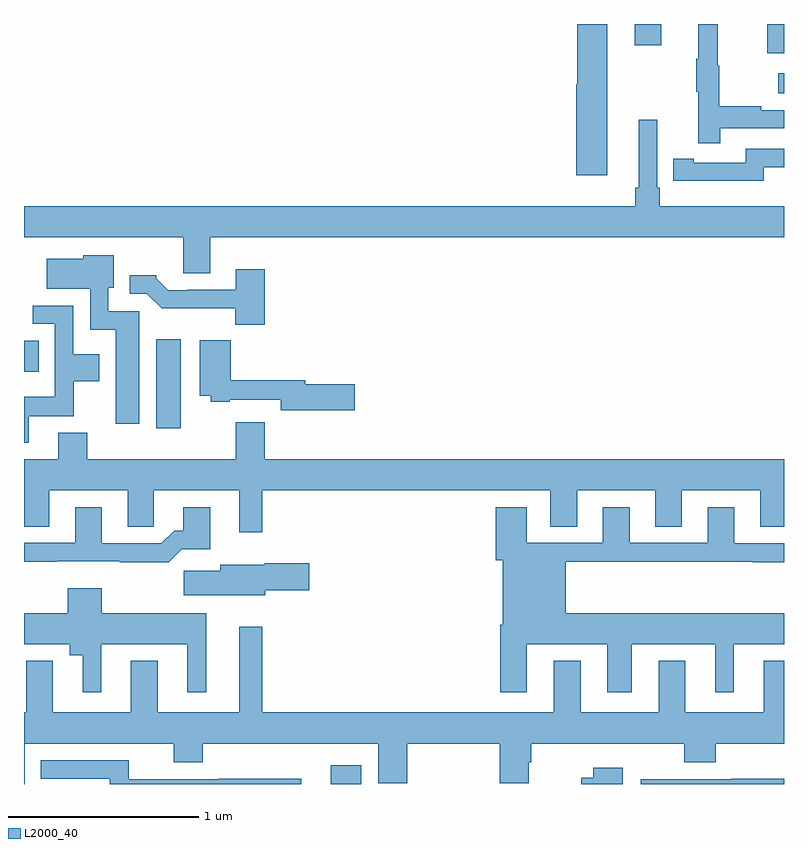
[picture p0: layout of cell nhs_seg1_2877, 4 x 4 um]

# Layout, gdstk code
import gdstk
lib = gdstk.Library(unit=1e-6, precision=1e-09)
def R(c, l, rs):  # rectangles x0, y0, x1, y1
    for r in rs: c.add(gdstk.rectangle(r[:2], r[2:], *l))
def P(c, l, *ps):  # polygons
    for p in ps: c.add(gdstk.Polygon(p, *l))
L2000_40 = (2000, 40)

nhs_seg1_2877 = lib.new_cell('nhs_seg1_2877')
R(nhs_seg1_2877, L2000_40, [(268.615,538.199,268.776,538.297), (267.695,540.072,267.826,540.541), (267,540.368,267.077,540.532), (270.969,541.835,271,541.939), (270.911,542.046,271,542.199), (270.215,542.088,270.355,542.199)])
P(nhs_seg1_2877, L2000_40, [(270.665,541.65),(271,541.65),(271,541.746),(270.881,541.746),(270.881,541.766),(270.658,541.766),(270.658,541.98),(270.65,541.98),(270.65,542.199),(270.548,542.199),(270.548,542.017),(270.537,542.017),(270.537,541.843),(270.548,541.843),(270.548,541.572),(270.665,541.572)],
  [(270.07,542.199),(269.912,542.199),(269.912,541.881),(269.906,541.881),(269.906,541.404),(270.07,541.404)],
  [(267.979,541.076),(271,541.076),(271,541.24),(270.347,541.24),(270.347,541.336),(270.333,541.336),(270.333,541.696),(270.236,541.696),(270.236,541.336),(270.217,541.336),(270.217,541.24),(267,541.24),(267,541.076),(267.839,541.076),(267.839,540.886),(267.979,540.886)],
  [(270.894,541.446),(271,541.446),(271,541.542),(270.798,541.542),(270.798,541.47),(270.526,541.47),(270.526,541.49),(270.418,541.49),(270.418,541.374),(270.526,541.374),(270.526,541.373),(270.894,541.373)],
  [(267.607,540.687),(267.444,540.687),(267.444,540.81),(267.472,540.81),(267.472,540.982),(267.312,540.982),(267.312,540.964),(267.12,540.964),(267.12,540.806),(267.348,540.806),(267.348,540.59),(267.482,540.59),(267.482,540.096),(267.607,540.096)],
  [(268.268,540.907),(268.115,540.907),(268.115,540.801),(267.859,540.801),(267.859,540.798),(267.76,540.798),(267.696,540.862),(267.696,540.877),(267.557,540.877),(267.557,540.78),(267.645,540.78),(267.724,540.702),(268.113,540.702),(268.113,540.617),(268.268,540.617)],
  [(267.025,540.134),(267.261,540.134),(267.261,540.32),(267.397,540.32),(267.397,540.46),(267.258,540.46),(267.258,540.717),(267.045,540.717),(267.045,540.621),(267.162,540.621),(267.162,540.238),(267,540.238),(267,539.994),(267.025,539.994)],
  [(268.741,540.302),(268.48,540.302),(268.48,540.323),(268.088,540.323),(268.088,540.535),(267.926,540.535),(267.926,540.242),(267.984,540.242),(267.984,540.21),(268.084,540.21),(268.084,540.222),(268.352,540.222),(268.352,540.167),(268.741,540.167)],
  [(268.255,539.744),(269.771,539.744),(269.771,539.554),(269.911,539.554),(269.911,539.744),(270.323,539.744),(270.323,539.554),(270.463,539.554),(270.463,539.744),(270.875,539.744),(270.875,539.554),(271,539.554),(271,539.908),(268.268,539.908),(268.268,540.103),(268.115,540.103),(268.115,539.908),(267.332,539.908),(267.332,540.049),(267.179,540.049),(267.179,539.908),(267,539.908),(267,539.554),(267.133,539.554),(267.133,539.744),(267.545,539.744),(267.545,539.554),(267.684,539.554),(267.684,539.744),(268.133,539.744),(268.133,539.523),(268.255,539.523)],
  [(267.83,539.435),(267.979,539.435),(267.979,539.656),(267.839,539.656),(267.839,539.533),(267.79,539.533),(267.723,539.466),(267.409,539.466),(267.409,539.656),(267.269,539.656),(267.269,539.469),(267,539.469),(267,539.368),(267.173,539.368),(267.173,539.372),(267.505,539.372),(267.505,539.366),(267.761,539.366)],
  [(269.647,538.934),(270.071,538.934),(270.071,538.683),(270.199,538.683),(270.199,538.934),(270.638,538.934),(270.638,538.683),(270.736,538.683),(270.736,538.934),(271,538.934),(271,539.098),(269.851,539.098),(269.851,539.368),(270.835,539.368),(270.835,539.366),(271,539.366),(271,539.466),(270.739,539.466),(270.739,539.656),(270.599,539.656),(270.599,539.469),(270.187,539.469),(270.187,539.656),(270.047,539.656),(270.047,539.469),(269.647,539.469),(269.647,539.656),(269.483,539.656),(269.483,539.376),(269.519,539.376),(269.519,539.038),(269.507,539.038),(269.507,538.683),(269.647,538.683)],
  [(268.27,539.219),(268.501,539.219),(268.501,539.361),(268.266,539.361),(268.266,539.353),(268.034,539.353),(268.034,539.321),(267.84,539.321),(267.84,539.192),(268.27,539.192)],
  [(267.406,538.934),(267.86,538.934),(267.86,538.683),(267.958,538.683),(267.958,539.098),(267.408,539.098),(267.408,539.23),(267.23,539.23),(267.23,539.098),(267,539.098),(267,538.934),(267.242,538.934),(267.242,538.877),(267.308,538.877),(267.308,538.683),(267.406,538.683)],
  [(267.003,538.412),(267.788,538.412),(267.788,538.313),(267.941,538.313),(267.941,538.412),(268.865,538.412),(268.865,538.204),(269.018,538.204),(269.018,538.412),(269.504,538.412),(269.504,538.204),(269.656,538.204),(269.656,538.314),(269.669,538.314),(269.669,538.412),(270.476,538.412),(270.476,538.313),(270.641,538.313),(270.641,538.412),(271,538.412),(271,538.849),(270.893,538.849),(270.893,538.576),(270.481,538.576),(270.481,538.849),(270.341,538.849),(270.341,538.576),(269.929,538.576),(269.929,538.849),(269.789,538.849),(269.789,538.576),(268.255,538.576),(268.255,539.026),(268.133,539.026),(268.133,538.576),(267.703,538.576),(267.703,538.849),(267.563,538.849),(267.563,538.576),(267.151,538.576),(267.151,538.849),(267.011,538.849),(267.011,538.576),(267,538.576),(267,538.199),(267.003,538.199)],
  [(268.458,538.226),(268.024,538.226),(268.024,538.224),(267.552,538.224),(267.552,538.323),(267.088,538.323),(267.088,538.227),(267.452,538.227),(267.452,538.199),(268.458,538.199)],
  [(270.151,538.285),(269.995,538.285),(269.995,538.233),(269.932,538.233),(269.932,538.199),(270.151,538.199)],
  [(271,538.226),(270.724,538.226),(270.724,538.224),(270.246,538.224),(270.246,538.199),(271,538.199)])

lib.write_gds('nhs_seg1_2877.gds')
